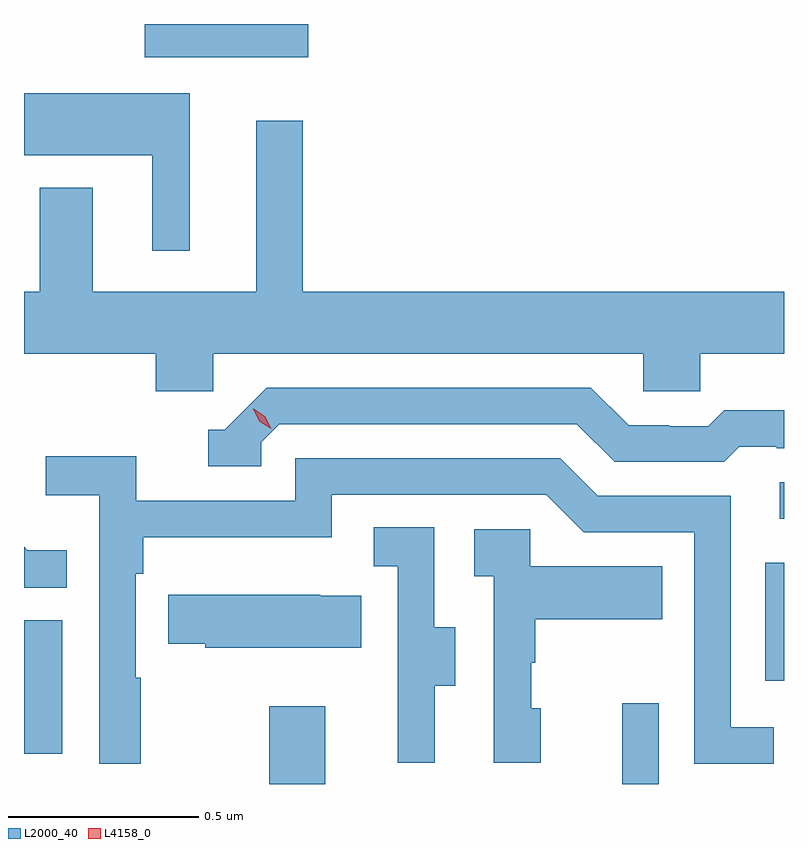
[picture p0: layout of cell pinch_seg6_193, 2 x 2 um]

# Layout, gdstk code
import gdstk
lib = gdstk.Library(unit=1e-6, precision=1e-09)
def R(c, l, rs):  # rectangles x0, y0, x1, y1
    for r in rs: c.add(gdstk.rectangle(r[:2], r[2:], *l))
def P(c, l, *ps):  # polygons
    for p in ps: c.add(gdstk.Polygon(p, *l))
L2000_40 = (2000, 40)
L4158_0 = (4158, 0)

pinch_seg6_193 = lib.new_cell('pinch_seg6_193')
R(pinch_seg6_193, L2000_40, [(1034.956,923.56,1035.103,923.764), (1035.884,923.56,1035.981,923.773), (1034.31,923.64,1034.41,923.991), (1036.26,923.832,1036.31,924.142), (1036.299,924.258,1036.31,924.354), (1034.628,925.472,1035.058,925.56)])
P(pinch_seg6_193, L2000_40, [(1034.746,925.378),(1034.31,925.378),(1034.31,925.214),(1034.648,925.214),(1034.648,924.963),(1034.746,924.963)],
  [(1034.808,924.692),(1035.939,924.692),(1035.939,924.594),(1036.089,924.594),(1036.089,924.692),(1036.31,924.692),(1036.31,924.856),(1035.043,924.856),(1035.043,925.306),(1034.921,925.306),(1034.921,924.856),(1034.491,924.856),(1034.491,925.129),(1034.351,925.129),(1034.351,924.856),(1034.31,924.856),(1034.31,924.692),(1034.657,924.692),(1034.657,924.594),(1034.808,924.594)],
  [(1034.934,924.459),(1034.982,924.507),(1035.765,924.507),(1035.864,924.408),(1036.153,924.408),(1036.192,924.447),(1036.291,924.447),(1036.291,924.444),(1036.31,924.444),(1036.31,924.544),(1036.153,924.544),(1036.111,924.501),(1036.008,924.501),(1036.008,924.504),(1035.901,924.504),(1035.802,924.603),(1034.949,924.603),(1034.838,924.492),(1034.795,924.492),(1034.795,924.396),(1034.934,924.396)],
  [(1034.617,923.84),(1034.604,923.84),(1034.604,924.113),(1034.624,924.113),(1034.624,924.209),(1035.12,924.209),(1035.12,924.321),(1035.684,924.321),(1035.783,924.222),(1036.074,924.222),(1036.074,923.613),(1036.283,923.613),(1036.283,923.709),(1036.17,923.709),(1036.17,924.318),(1035.82,924.318),(1035.721,924.417),(1035.024,924.417),(1035.024,924.306),(1034.606,924.306),(1034.606,924.422),(1034.367,924.422),(1034.367,924.32),(1034.508,924.32),(1034.508,923.613),(1034.617,923.613)],
  [(1035.391,923.818),(1035.445,923.818),(1035.445,923.973),(1035.39,923.973),(1035.39,924.236),(1035.231,924.236),(1035.231,924.133),(1035.294,924.133),(1035.294,923.829),(1035.293,923.829),(1035.293,923.616),(1035.391,923.616)],
  [(1035.67,923.76),(1035.645,923.76),(1035.645,923.879),(1035.655,923.879),(1035.655,923.993),(1035.989,923.993),(1035.989,924.133),(1035.642,924.133),(1035.642,924.231),(1035.495,924.231),(1035.495,924.107),(1035.546,924.107),(1035.546,923.616),(1035.67,923.616)],
  [(1034.423,924.175),(1034.319,924.175),(1034.31,924.184),(1034.31,924.076),(1034.423,924.076)],
  [(1035.197,924.055),(1035.089,924.055),(1035.089,924.058),(1034.689,924.058),(1034.689,923.929),(1034.787,923.929),(1034.787,923.918),(1035.197,923.918)])
P(pinch_seg6_193, L4158_0, [(1034.96,924.495),(1034.929,924.514),(1034.913,924.547),(1034.913,924.547),(1034.914,924.547),(1034.944,924.528),(1034.96,924.495),(1034.96,924.495)])

lib.write_gds('pinch_seg6_193.gds')
